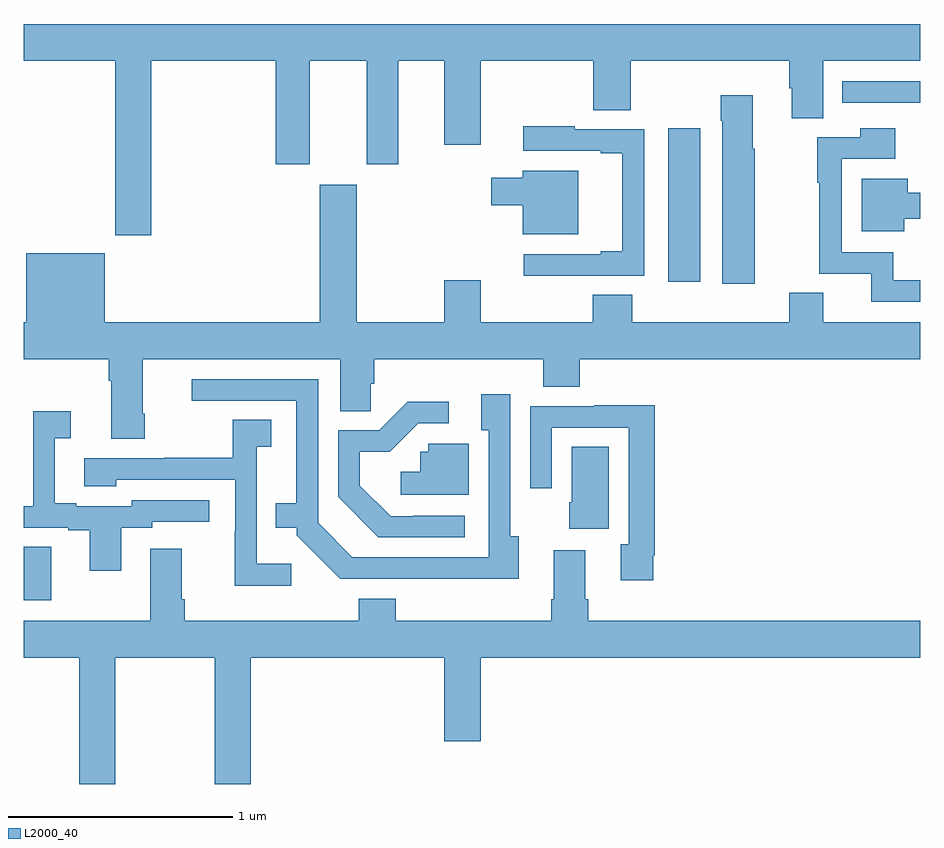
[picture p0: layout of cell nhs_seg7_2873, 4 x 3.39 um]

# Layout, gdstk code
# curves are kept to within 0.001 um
import gdstk
lib = gdstk.Library(unit=1e-6, precision=1e-09)
def R(c, l, rs):  # rectangles x0, y0, x1, y1
    for r in rs: c.add(gdstk.rectangle(r[:2], r[2:], *l))
def P(c, l, *ps):  # polygons
    for p in ps: c.add(gdstk.Polygon(p, *l))
L2000_40 = (2000, 40)

nhs_seg7_2873 = lib.new_cell('nhs_seg7_2873')
R(nhs_seg7_2873, L2000_40, [(295,1052.82,295.123,1053.059), (297.875,1054.242,298.018,1054.927), (298.652,1055.04,299,1055.136)])
P(nhs_seg7_2873, L2000_40, [(295.568,1055.228),(296.123,1055.228),(296.123,1054.767),(296.275,1054.767),(296.275,1055.228),(296.531,1055.228),(296.531,1054.767),(296.671,1054.767),(296.671,1055.228),(296.876,1055.228),(296.876,1054.854),(297.04,1054.854),(297.04,1055.228),(297.542,1055.228),(297.542,1055.008),(297.708,1055.008),(297.708,1055.228),(298.415,1055.228),(298.415,1055.106),(298.427,1055.106),(298.427,1054.972),(298.567,1054.972),(298.567,1055.228),(299,1055.228),(299,1055.392),(295,1055.392),(295,1055.228),(295.408,1055.228),(295.408,1054.449),(295.568,1054.449)],
  [(298.261,1054.835),(298.252,1054.835),(298.252,1055.074),(298.111,1055.074),(298.111,1054.961),(298.118,1054.961),(298.118,1054.232),(298.261,1054.232)],
  [(297.455,1054.269),(297.768,1054.269),(297.768,1054.923),(297.458,1054.923),(297.458,1054.936),(297.228,1054.936),(297.228,1054.827),(297.575,1054.827),(297.575,1054.815),(297.671,1054.815),(297.671,1054.378),(297.575,1054.378),(297.575,1054.365),(297.231,1054.365),(297.231,1054.268),(297.455,1054.268)],
  [(299,1054.248),(298.879,1054.248),(298.879,1054.374),(298.65,1054.374),(298.65,1054.791),(298.888,1054.791),(298.888,1054.927),(298.732,1054.927),(298.732,1054.887),(298.542,1054.887),(298.542,1054.684),(298.549,1054.684),(298.549,1054.278),(298.781,1054.278),(298.781,1054.152),(299,1054.152)],
  [(297.475,1054.738),(297.227,1054.738),(297.227,1054.705),(297.087,1054.705),(297.087,1054.583),(297.227,1054.583),(297.227,1054.454),(297.475,1054.454)],
  [(298.93,1054.523),(299,1054.523),(299,1054.639),(298.945,1054.639),(298.945,1054.702),(298.739,1054.702),(298.739,1054.466),(298.93,1054.466)],
  [(297.04,1054.249),(296.876,1054.249),(296.876,1054.06),(296.485,1054.06),(296.485,1054.675),(296.321,1054.675),(296.321,1054.06),(295.36,1054.06),(295.36,1054.369),(295.01,1054.369),(295.01,1054.06),(295,1054.06),(295,1053.896),(295.379,1053.896),(295.379,1053.8),(295.391,1053.8),(295.391,1053.54),(295.539,1053.54),(295.539,1053.652),(295.531,1053.652),(295.531,1053.896),(296.411,1053.896),(296.411,1053.664),(296.549,1053.664),(296.549,1053.786),(296.564,1053.786),(296.564,1053.896),(297.317,1053.896),(297.317,1053.772),(297.482,1053.772),(297.482,1053.896),(299,1053.896),(299,1054.06),(298.567,1054.06),(298.567,1054.193),(298.415,1054.193),(298.415,1054.06),(297.716,1054.06),(297.716,1054.184),(297.539,1054.184),(297.539,1054.06),(297.04,1054.06)],
  [(297.208,1053.106),(297.171,1053.106),(297.171,1053.739),(297.041,1053.739),(297.041,1053.578),(297.075,1053.578),(297.075,1053.012),(296.466,1053.012),(296.313,1053.165),(296.313,1053.807),(295.749,1053.807),(295.749,1053.711),(296.216,1053.711),(296.216,1053.253),(296.125,1053.253),(296.125,1053.143),(296.217,1053.143),(296.217,1053.111),(296.412,1052.916),(297.208,1052.915)],
  [(296.968,1053.198),(296.737,1053.198),(296.737,1053.195),(296.637,1053.195),(296.5,1053.332),(296.5,1053.482),(296.633,1053.482),(296.76,1053.609),(296.896,1053.609),(296.896,1053.707),(296.714,1053.707),(296.586,1053.579),(296.403,1053.579),(296.403,1053.281),(296.582,1053.102),(296.968,1053.102)],
  [(297.808,1053.022),(297.815,1053.022),(297.815,1053.691),(297.545,1053.691),(297.545,1053.687),(297.261,1053.687),(297.261,1053.321),(297.357,1053.321),(297.357,1053.591),(297.699,1053.591),(297.699,1053.071),(297.665,1053.071),(297.665,1052.91),(297.808,1052.91)],
  [(295.435,1053.144),(295.572,1053.144),(295.572,1053.171),(295.828,1053.171),(295.828,1053.267),(295.482,1053.267),(295.482,1053.24),(295.234,1053.24),(295.234,1053.253),(295.138,1053.253),(295.138,1053.544),(295.21,1053.544),(295.21,1053.664),(295.041,1053.664),(295.041,1053.24),(295,1053.24),(295,1053.144),(295.199,1053.144),(295.199,1053.132),(295.295,1053.132),(295.295,1052.952),(295.435,1052.952)],
  [(296.194,1052.983),(296.04,1052.983),(296.04,1053.505),(296.104,1053.505),(296.104,1053.626),(295.932,1053.626),(295.932,1053.456),(295.627,1053.456),(295.627,1053.453),(295.269,1053.453),(295.269,1053.329),(295.413,1053.329),(295.413,1053.357),(295.944,1053.357),(295.944,1053.125),(295.942,1053.125),(295.942,1052.885),(296.194,1052.885)],
  [(296.986,1053.519),(296.805,1053.519),(296.805,1053.483),(296.769,1053.483),(296.769,1053.394),(296.682,1053.394),(296.682,1053.291),(296.986,1053.291)],
  [(297.61,1053.505),(297.446,1053.505),(297.446,1053.258),(297.434,1053.258),(297.434,1053.14),(297.61,1053.14)],
  [(295.407,1052.564),(295.852,1052.564),(295.852,1052),(296.012,1052),(296.012,1052.564),(296.876,1052.564),(296.876,1052.19),(297.04,1052.19),(297.04,1052.564),(299,1052.564),(299,1052.728),(297.518,1052.728),(297.518,1052.824),(297.505,1052.824),(297.505,1053.043),(297.365,1053.043),(297.365,1052.824),(297.353,1052.824),(297.353,1052.728),(296.66,1052.728),(296.66,1052.827),(296.495,1052.827),(296.495,1052.728),(295.718,1052.728),(295.718,1052.824),(295.705,1052.824),(295.705,1053.049),(295.565,1053.049),(295.565,1052.728),(295,1052.728),(295,1052.564),(295.247,1052.564),(295.247,1052),(295.407,1052)])

lib.write_gds('nhs_seg7_2873.gds')
